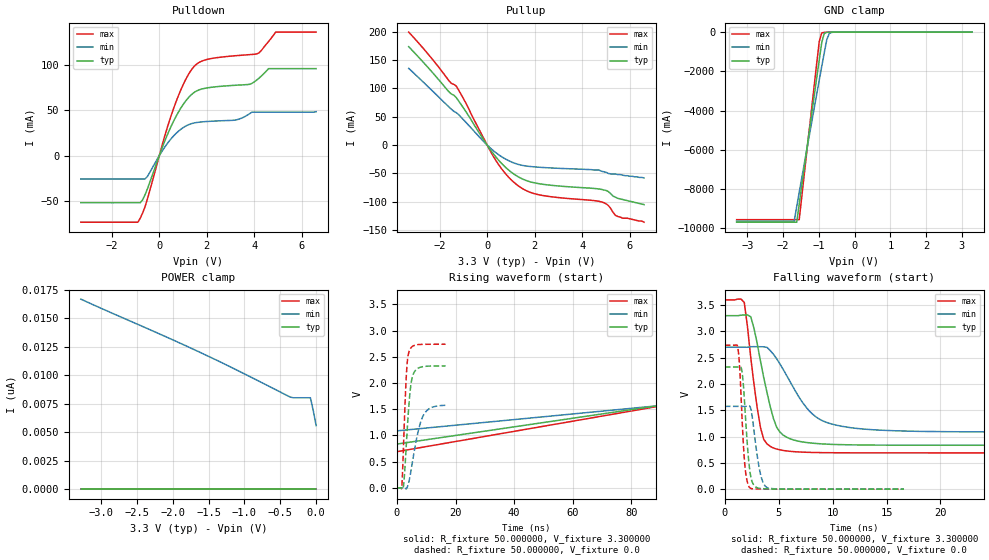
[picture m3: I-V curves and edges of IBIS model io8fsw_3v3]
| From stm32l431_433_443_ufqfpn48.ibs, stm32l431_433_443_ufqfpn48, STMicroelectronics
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|   Model io8fsw_3v3
[Model]  io8fsw_3v3
Model_type I/O
Polarity   Non-Inverting
Enable   Active-Low
Vinl =   0.990000V
Vinh =   2.310000V
Vmeas =  1.650000V
Cref =   100.000000nF
Rref =   1.000000k
Vref =   3.300000V
C_comp   2.968600pF   2.938100pF   3.196200pF
[Temperature Range]   25.000000   0.125000k   -40.000000
[Pullup Reference]   3.300000V   2.700000V   3.600000V
[Pulldown Reference]   0.0V   0.0V   0.0V
[POWER Clamp Reference]   3.300000V   2.700000V   3.600000V
[GND Clamp Reference]   0.0V   0.0V   0.0V
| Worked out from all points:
|   slope of the pulldown table from 0 to 0.495 V, typ, clamps not added: 15.4 ohm
|   slope of the pullup table from 0 to 0.495 V, typ, clamps not added: 18.1 ohm
|   GND clamp passes 1 mA (typ) near -0.58 V on its own axis
|   rising waveform, R_fixture 50.000000, V_fixture 3.300000: 20-80 % time 180ns typ, 180ns min, 180ns max; typ from 0.835 V to 3.3 V
|   rising waveform, R_fixture 50.000000, V_fixture 0.0: 20-80 % time 1.71ns typ, 3.37ns min, 1.18ns max; typ from 0 V to 2.33 V
|   falling waveform, R_fixture 50.000000, V_fixture 3.300000: 20-80 % time 1.57ns typ, 3.12ns min, 1.09ns max; typ from 3.3 V to 0.835 V
|   falling waveform, R_fixture 50.000000, V_fixture 0.0: 20-80 % time 488ps typ, 661ps min, 410ps max; typ from 2.33 V to 0 V
[Pulldown]
|Voltage   I(typ)   I(min)   I(max)
-3.3V     -51.62mA   -25.53mA   -73.04mA
-900mV    -51.62mA   -25.53mA   -73.04mA
-500mV    -36.51mA   -22.79mA   -47.71mA
200mV     14.03mA    8.316mA    18.9mA
700mV     42.99mA    24.4mA     58.9mA
1.2V      63.06mA    33.8mA     88.14mA
1.6V      71.64mA    36.67mA    101.4mA
3.2V      77.51mA    39.29mA    110mA
4.1V      83.27mA    47.97mA    111.9mA
4.6V      95.8mA     47.97mA    125.7mA
4.9V      95.8mA     47.97mA    136mA
6.6V      95.8mA     48.43mA    136mA
[Pullup]
|Voltage   I(typ)   I(min)   I(max)
-3.3V     173.5mA    135.3mA    199.3mA
-1.6V     93.58mA    66.94mA    113mA
-1.3V     83.8mA     57.28mA    104.1mA
300mV     -17.49mA   -11.19mA   -22.71mA
700mV     -36.32mA   -22.9mA    -46.84mA
1.2V      -53.2mA    -32.62mA   -68.33mA
1.7V      -63.36mA   -37.26mA   -81.47mA
2.2V      -68.23mA   -39.11mA   -87.81mA
4.8V      -78.1mA    -46mA      -100.2mA
5.1V      -82mA      -50mA      -106.7mA
5.5V      -94mA      -52mA      -126mA
6.6V      -105mA     -58mA      -136mA
[GND_clamp]
|Voltage   I(typ)   I(min)   I(max)
-3.3V     -9.687A    -9.633A    -9.557A
-1.69V    -9.687A    -9.633A    -9.557A
-1.62V    -9.687A    -8.894A    -9.557A
-1.55V    -8.764A    -8.167A    -9.557A
-1.13V    -3.236A    -3.867A    -2.713A
-990mV    -1.416A    -2.448A    -480.1mA
-920mV    -530mA     -1.746A    -39.96mA
-850mV    -62.36mA   -1.055A    -14.04mA
-780mV    -12.04mA   -390.4mA   -9.013mA
-710mV    -4.897mA   -69.08mA   -5.32mA
-640mV    -2.305mA   -14.59mA   -2.498mA
3.28V     0A         0A         0A
[POWER_clamp]
|Voltage   I(typ)   I(min)   I(max)
-3.28V    0A         16.68nA    0A
-1.64V    0A         12.07nA    0A
-1.08V    0A         10.37nA    0A
-360mV    0A         8.078nA    0A
-320mV    0A         8.02nA     0A
-80mV     0A         8.02nA     0A
-40mV     0A         6.883nA    0A
0V        0A         5.582nA    0A
[Ramp]
| variable   typ   min   max
dV/dt_r  1.39476/1.71349n   0.94506/3.39372n   1.64316/1.17888n
dV/dt_f  1.47899/1.56424n   0.96780/3.11174n   1.74604/1.07784n
R_load = 50.000000
[Rising Waveform]
R_fixture= 50.000000
V_fixture= 3.300000
V_fixture_min= 2.700000
V_fixture_max= 3.600000
|time   V(typ)   V(min)   V(max)
0s        835mV      1.087V     689.9mV
300.3ns   3.3V       2.7V       3.6V
600.6ns   3.3V       2.7V       3.6V
29.73us   3.3V       2.7V       3.6V
[Rising Waveform]
R_fixture= 50.000000
V_fixture= 0.0
V_fixture_min= 0.0
V_fixture_max= 0.0
|time   V(typ)   V(min)   V(max)
0s        3.841nV    97.75nV    3.582nV
1.635ns   -3.465mV   930.7nV    1.089mV
2.236ns   33.73mV    192.5uV    793.2mV
3.136ns   762.2mV    -19.68mV   2.071V
3.604ns   1.196V     24.39mV    2.443V
4.104ns   1.593V     122.1mV    2.592V
4.738ns   1.956V     307.3mV    2.667V
5.472ns   2.155V     552.7mV    2.704V
8.742ns   2.31V      1.352V     2.736V
16.62ns   2.325V     1.575V     2.739V
[Falling Waveform]
R_fixture= 50.000000
V_fixture= 3.300000
V_fixture_min= 2.700000
V_fixture_max= 3.600000
|time   V(typ)   V(min)   V(max)
0s        3.3V       2.7V       3.6V
1.802ns   3.315V     2.7V       3.552V
2.402ns   3.279V     2.709V     2.502V
3.003ns   2.768V     2.709V     1.546V
3.604ns   2.125V     2.709V     949.7mV
4.805ns   1.18V      2.481V     763.1mV
6.006ns   962.9mV    2.062V     720.6mV
9.009ns   861mV      1.306V     695mV
15.92ns   836.7mV    1.11V      690.3mV
149.5ns   835mV      1.087V     689.9mV
[Falling Waveform]
R_fixture= 50.000000
V_fixture= 0.0
V_fixture_min= 0.0
V_fixture_max= 0.0
|time   V(typ)   V(min)   V(max)
0s        2.325V     1.575V     2.739V
1.201ns   2.324V     1.575V     2.695V
1.368ns   2.33V      1.575V     2.34V
1.568ns   2.262V     1.575V     1.469V
1.835ns   1.634V     1.575V     503.6mV
2.102ns   805mV      1.58V      125mV
2.336ns   325.2mV    1.57V      23.64mV
3.237ns   15.17mV    351.3mV    2.842mV
3.871ns   6.473mV    35.39mV    2.072mV
16.62ns   3.841nV    97.75nV    3.582nV
